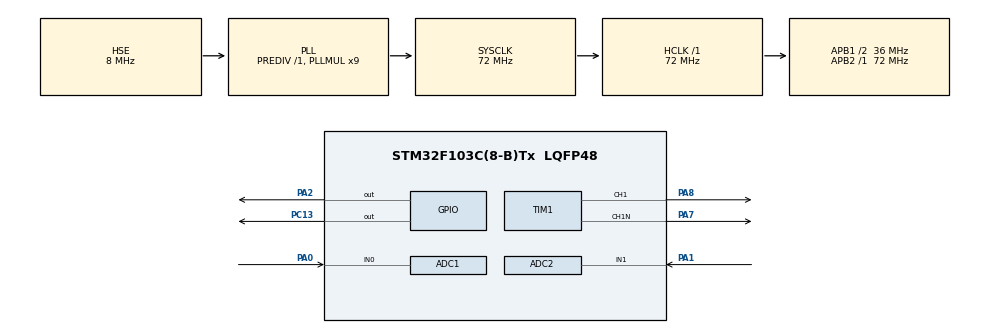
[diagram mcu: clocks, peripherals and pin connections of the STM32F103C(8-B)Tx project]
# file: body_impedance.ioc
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ADC1.Channel-0\#ChannelRegularConversion=ADC_CHANNEL_0
ADC1.ContinuousConvMode=ENABLE
ADC1.ExternalTrigConv=ADC_EXTERNALTRIGCONV_T3_TRGO
ADC1.Mode=ADC_DUALMODE_REGSIMULT
ADC1.NbrOfConversionFlag=1
ADC1.Rank-0\#ChannelRegularConversion=1
ADC1.SamplingTime-0\#ChannelRegularConversion=ADC_SAMPLETIME_1CYCLE_5
ADC1.master=1
ADC2.Channel-0\#ChannelRegularConversion=ADC_CHANNEL_1
ADC2.Mode=ADC_DUALMODE_REGSIMULT
ADC2.NbrOfConversionFlag=1
ADC2.Rank-0\#ChannelRegularConversion=1
ADC2.SamplingTime-0\#ChannelRegularConversion=ADC_SAMPLETIME_1CYCLE_5
Dma.ADC1.0.Direction=DMA_PERIPH_TO_MEMORY
Dma.ADC1.0.Instance=DMA1_Channel1
Dma.ADC1.0.MemDataAlignment=DMA_MDATAALIGN_WORD
Dma.ADC1.0.MemInc=DMA_MINC_ENABLE
Dma.ADC1.0.Mode=DMA_CIRCULAR
Dma.ADC1.0.PeriphDataAlignment=DMA_PDATAALIGN_WORD
Dma.ADC1.0.PeriphInc=DMA_PINC_DISABLE
Dma.ADC1.0.Priority=DMA_PRIORITY_LOW
Dma.Request0=ADC1
Mcu.Family=STM32F1
Mcu.Name=STM32F103C(8-B)Tx
Mcu.Package=LQFP48
NVIC.DMA1_Channel1_IRQn=true\:0\:0\:false\:false\:true\:false\:true\:true
NVIC.PriorityGroup=NVIC_PRIORITYGROUP_4
NVIC.TIM1_CC_IRQn=true\:0\:0\:false\:false\:true\:true\:true\:true
NVIC.TIM1_UP_IRQn=true\:0\:0\:false\:false\:true\:true\:true\:true
PA0-WKUP.Signal=ADCx_IN0
PA1.Signal=ADCx_IN1
PA13.Mode=Serial_Wire
PA13.Signal=SYS_JTMS-SWDIO
PA14.Mode=Serial_Wire
PA14.Signal=SYS_JTCK-SWCLK
PA2.Signal=GPIO_Output
PA7.Mode=PWM Generation1 CH1 CH1N
PA7.Signal=TIM1_CH1N
PA8.Signal=S_TIM1_CH1
PC13-TAMPER-RTC.Signal=GPIO_Output
PD0-OSC_IN.Mode=HSE-External-Oscillator
PD0-OSC_IN.Signal=RCC_OSC_IN
PD1-OSC_OUT.Mode=HSE-External-Oscillator
PD1-OSC_OUT.Signal=RCC_OSC_OUT
ProjectManager.HeapSize=0x200
ProjectManager.StackSize=0x400
ProjectManager.TargetToolchain=STM32CubeIDE
RCC.ADCPresc=RCC_ADCPCLK2_DIV6
RCC.AHBFreq_Value=72000000
RCC.APB1CLKDivider=RCC_HCLK_DIV2
RCC.APB1Freq_Value=36000000
RCC.APB1TimFreq_Value=72000000
RCC.APB2Freq_Value=72000000
RCC.APB2TimFreq_Value=72000000
RCC.HCLKFreq_Value=72000000
RCC.PLLMUL=RCC_PLL_MUL9
RCC.PLLSourceVirtual=RCC_PLLSOURCE_HSE
RCC.SYSCLKFreq_VALUE=72000000
RCC.SYSCLKSource=RCC_SYSCLKSOURCE_PLLCLK
RCC.USBFreq_Value=72000000
SH.ADCx_IN0.0=ADC1_IN0,IN0
SH.ADCx_IN1.0=ADC2_IN1,IN1
SH.S_TIM1_CH1.0=TIM1_CH1,PWM Generation1 CH1 CH1N
TIM1.BreakState=TIM_BREAK_DISABLE
TIM1.Channel-PWM\ Generation1\ CH1\ CH1N=TIM_CHANNEL_1
TIM1.DeadTime=PWM_DEAD_TIME
TIM1.Period=pwmPulseParameters.counterPeriod
TIM1.Prescaler=pwmPulseParameters.counterPrescaler
TIM1.Pulse-PWM\ Generation1\ CH1\ CH1N=pwmPulseParameters.counterPulse
TIM3.Period=adcTimerParameters.adcTimerPeriod
TIM3.Prescaler=adcTimerParameters.adcTimerPrescaler
TIM3.TIM_MasterOutputTrigger=TIM_TRGO_UPDATE
VP_TIM3_VS_ClockSourceINT.Mode=Internal
board=custom

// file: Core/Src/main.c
/* USER CODE BEGIN Header */
/**
  ******************************************************************************
  * @file           : main.c
  * @brief          : Main program body
  ******************************************************************************
  * @attention
  *
  * Copyright (c) 2024 STMicroelectronics.
  * All rights reserved.
  *
  * This software is licensed under terms that can be found in the LICENSE file
  * in the root directory of this software component.
  * If no LICENSE file comes with this software, it is provided AS-IS.
  *
  ******************************************************************************
  */
/* USER CODE END Header */
#include "main.h"

/* USER CODE BEGIN PTD */
typedef struct{
	uint32_t counterFreq;  //pwm freq in Hz
	uint8_t dutyCycle;     // duty cycle in percentage(0-100)
	uint32_t stimulationDuration;
	uint16_t counterPeriod;
	uint16_t counterPulse;
	uint16_t counterPrescaler;
}sPulseParam;

typedef struct{
	uint8_t adcTimerPrescaler, adcTimerPeriod;
}sADCTimerParam;

typedef struct{
	uint8_t firstLoopFlag;
	volatile float impedanceTotal, impedanceAvg, impedanceEMAPres, impedanceEMAPrev, deltaImpedance;
}sImpedanceCalParam;
/* USER CODE END PTD */

/* USER CODE BEGIN PD */
#define PWM_DEAD_TIME 15 /* gives ~210ns dead time for apb2 timer clock freq of 72MHZ
						    to calc dead time value -> (PWM_DEAD_TIME = dead_time(ns) * apb2_tim_freq(MHz) */
#define ADC_BUF_LEN 10
#define DELTA_IMP_THRESHOLD 100
/* USER CODE END PD */

ADC_HandleTypeDef hadc1;
ADC_HandleTypeDef hadc2;
DMA_HandleTypeDef hdma_adc1;

TIM_HandleTypeDef htim1;
TIM_HandleTypeDef htim3;

/* USER CODE BEGIN PV */

volatile sPulseParam pwmPulseParameters = {.counterPrescaler = 0, .counterPeriod = 360, .counterPulse = 300};
volatile sADCTimerParam adcTimerParameters = {71, 2}; //prescaler = 72, period = 1 , so adc timer freq = 1MHz //prescaler = 72, period = 1 , so adc timer freq = 1MHz
sImpedanceCalParam impedanceCalParameters = {.firstLoopFlag = 1, .impedanceTotal = 0, .impedanceAvg = 0, .impedanceEMAPres = 0, .impedanceEMAPrev = 0, .deltaImpedance = 0};
volatile uint8_t DMATransferComplete = 0;   //DMA flag
volatile uint32_t adcBuf[ADC_BUF_LEN] = {0};
volatile float emaAlpha = 0.1;
float current, voltage;
uint32_t adcCurrent, adcVoltage;
/* USER CODE END PV */

void SystemClock_Config(void);
static void MX_GPIO_Init(void);
static void MX_DMA_Init(void);
static void MX_ADC1_Init(void);
static void MX_ADC2_Init(void);
static void MX_TIM1_Init(void);
static void MX_TIM3_Init(void);

int main(void)
{

  /* MCU Configuration--------------------------------------------------------*/

  /* Reset of all peripherals, Initializes the Flash interface and the Systick. */
  HAL_Init();

  /* Configure the system clock */
  SystemClock_Config();

  /* Initialize all configured peripherals */
  MX_GPIO_Init();
  MX_DMA_Init();
  MX_ADC1_Init();
  MX_ADC2_Init();
  MX_TIM1_Init();
  MX_TIM3_Init();
  /* USER CODE BEGIN 2 */
  HAL_ADCEx_Calibration_Start(&hadc1);
  HAL_ADCEx_Calibration_Start(&hadc2);
  HAL_ADC_Start(&hadc2);
  HAL_ADCEx_MultiModeStart_DMA(&hadc1, adcBuf, ADC_BUF_LEN);

  /* USER CODE END 2 */

  /* Infinite loop */
  /* USER CODE BEGIN WHILE */

  HAL_TIM_PWM_Start(&htim1, TIM_CHANNEL_1);	   // turn on pwm channel for h-bridge switching
  HAL_TIMEx_PWMN_Start(&htim1, TIM_CHANNEL_1); // turn on complementary channel
  HAL_TIM_PWM_Start(&htim3, TIM_CHANNEL_1);

  while (1)
  {
	  if(DMATransferComplete){
		  Calc_Impedance();
		  DMATransferComplete = 0;
	  }

    /* USER CODE END WHILE */

  }
}

void SystemClock_Config(void)
{
  RCC_OscInitTypeDef RCC_OscInitStruct = {0};
  RCC_ClkInitTypeDef RCC_ClkInitStruct = {0};
  RCC_PeriphCLKInitTypeDef PeriphClkInit = {0};

  /** Initializes the RCC Oscillators according to the specified parameters
  * in the RCC_OscInitTypeDef structure.
  */
  RCC_OscInitStruct.OscillatorType = RCC_OSCILLATORTYPE_HSE;
  RCC_OscInitStruct.HSEState = RCC_HSE_ON;
  RCC_OscInitStruct.HSEPredivValue = RCC_HSE_PREDIV_DIV1;
  RCC_OscInitStruct.HSIState = RCC_HSI_ON;
  RCC_OscInitStruct.PLL.PLLState = RCC_PLL_ON;
  RCC_OscInitStruct.PLL.PLLSource = RCC_PLLSOURCE_HSE;
  RCC_OscInitStruct.PLL.PLLMUL = RCC_PLL_MUL9;
  if (HAL_RCC_OscConfig(&RCC_OscInitStruct) != HAL_OK)
  {
    Error_Handler();
  }

  /** Initializes the CPU, AHB and APB buses clocks
  */
  RCC_ClkInitStruct.ClockType = RCC_CLOCKTYPE_HCLK|RCC_CLOCKTYPE_SYSCLK
                              |RCC_CLOCKTYPE_PCLK1|RCC_CLOCKTYPE_PCLK2;
  RCC_ClkInitStruct.SYSCLKSource = RCC_SYSCLKSOURCE_PLLCLK;
  RCC_ClkInitStruct.AHBCLKDivider = RCC_SYSCLK_DIV1;
  RCC_ClkInitStruct.APB1CLKDivider = RCC_HCLK_DIV2;
  RCC_ClkInitStruct.APB2CLKDivider = RCC_HCLK_DIV1;

  if (HAL_RCC_ClockConfig(&RCC_ClkInitStruct, FLASH_LATENCY_2) != HAL_OK)
  {
    Error_Handler();
  }
  PeriphClkInit.PeriphClockSelection = RCC_PERIPHCLK_ADC;
  PeriphClkInit.AdcClockSelection = RCC_ADCPCLK2_DIV6;
  if (HAL_RCCEx_PeriphCLKConfig(&PeriphClkInit) != HAL_OK)
  {
    Error_Handler();
  }
}

static void MX_ADC1_Init(void)
{

  ADC_MultiModeTypeDef multimode = {0};
  ADC_ChannelConfTypeDef sConfig = {0};

  /** Common config
  */
  hadc1.Instance = ADC1;
  hadc1.Init.ScanConvMode = ADC_SCAN_DISABLE;
  hadc1.Init.ContinuousConvMode = ENABLE;
  hadc1.Init.DiscontinuousConvMode = DISABLE;
  hadc1.Init.ExternalTrigConv = ADC_EXTERNALTRIGCONV_T3_TRGO;
  hadc1.Init.DataAlign = ADC_DATAALIGN_RIGHT;
  hadc1.Init.NbrOfConversion = 1;
  if (HAL_ADC_Init(&hadc1) != HAL_OK)
  {
    Error_Handler();
  }

  /** Configure the ADC multi-mode
  */
  multimode.Mode = ADC_DUALMODE_REGSIMULT;
  if (HAL_ADCEx_MultiModeConfigChannel(&hadc1, &multimode) != HAL_OK)
  {
    Error_Handler();
  }

  /** Configure Regular Channel
  */
  sConfig.Channel = ADC_CHANNEL_0;
  sConfig.Rank = ADC_REGULAR_RANK_1;
  sConfig.SamplingTime = ADC_SAMPLETIME_1CYCLE_5;
  if (HAL_ADC_ConfigChannel(&hadc1, &sConfig) != HAL_OK)
  {
    Error_Handler();
  }

}

static void MX_ADC2_Init(void)
{

  ADC_ChannelConfTypeDef sConfig = {0};

  /** Common config
  */
  hadc2.Instance = ADC2;
  hadc2.Init.ScanConvMode = ADC_SCAN_DISABLE;
  hadc2.Init.ContinuousConvMode = DISABLE;
  hadc2.Init.DiscontinuousConvMode = DISABLE;
  hadc2.Init.ExternalTrigConv = ADC_SOFTWARE_START;
  hadc2.Init.DataAlign = ADC_DATAALIGN_RIGHT;
  hadc2.Init.NbrOfConversion = 1;
  if (HAL_ADC_Init(&hadc2) != HAL_OK)
  {
    Error_Handler();
  }

  /** Configure Regular Channel
  */
  sConfig.Channel = ADC_CHANNEL_1;
  sConfig.Rank = ADC_REGULAR_RANK_1;
  sConfig.SamplingTime = ADC_SAMPLETIME_1CYCLE_5;
  if (HAL_ADC_ConfigChannel(&hadc2, &sConfig) != HAL_OK)
  {
    Error_Handler();
  }

}

static void MX_TIM1_Init(void)
{

  /* USER CODE BEGIN TIM1_Init 0 */

  /*This is the timer used to create the PWM signals to switch the H-Bridge */

  /* USER CODE END TIM1_Init 0 */

  TIM_MasterConfigTypeDef sMasterConfig = {0};
  TIM_OC_InitTypeDef sConfigOC = {0};
  TIM_BreakDeadTimeConfigTypeDef sBreakDeadTimeConfig = {0};

  htim1.Instance = TIM1;
  htim1.Init.Prescaler = pwmPulseParameters.counterPrescaler;
  htim1.Init.CounterMode = TIM_COUNTERMODE_UP;
  htim1.Init.Period = pwmPulseParameters.counterPeriod;
  htim1.Init.ClockDivision = TIM_CLOCKDIVISION_DIV1;
  htim1.Init.RepetitionCounter = 0;
  htim1.Init.AutoReloadPreload = TIM_AUTORELOAD_PRELOAD_DISABLE;
  if (HAL_TIM_PWM_Init(&htim1) != HAL_OK)
  {
    Error_Handler();
  }
  sMasterConfig.MasterOutputTrigger = TIM_TRGO_RESET;
  sMasterConfig.MasterSlaveMode = TIM_MASTERSLAVEMODE_DISABLE;
  if (HAL_TIMEx_MasterConfigSynchronization(&htim1, &sMasterConfig) != HAL_OK)
  {
    Error_Handler();
  }
  sConfigOC.OCMode = TIM_OCMODE_PWM1;
  sConfigOC.Pulse = pwmPulseParameters.counterPulse;
  sConfigOC.OCPolarity = TIM_OCPOLARITY_HIGH;
  sConfigOC.OCNPolarity = TIM_OCNPOLARITY_HIGH;
  sConfigOC.OCFastMode = TIM_OCFAST_DISABLE;
  sConfigOC.OCIdleState = TIM_OCIDLESTATE_RESET;
  sConfigOC.OCNIdleState = TIM_OCNIDLESTATE_RESET;
  if (HAL_TIM_PWM_ConfigChannel(&htim1, &sConfigOC, TIM_CHANNEL_1) != HAL_OK)
  {
    Error_Handler();
  }
  sBreakDeadTimeConfig.OffStateRunMode = TIM_OSSR_DISABLE;
  sBreakDeadTimeConfig.OffStateIDLEMode = TIM_OSSI_DISABLE;
  sBreakDeadTimeConfig.LockLevel = TIM_LOCKLEVEL_OFF;
  sBreakDeadTimeConfig.DeadTime = PWM_DEAD_TIME;
  sBreakDeadTimeConfig.BreakState = TIM_BREAK_DISABLE;
  sBreakDeadTimeConfig.BreakPolarity = TIM_BREAKPOLARITY_HIGH;
  sBreakDeadTimeConfig.AutomaticOutput = TIM_AUTOMATICOUTPUT_DISABLE;
  if (HAL_TIMEx_ConfigBreakDeadTime(&htim1, &sBreakDeadTimeConfig) != HAL_OK)
  {
    Error_Handler();
  }
  HAL_TIM_MspPostInit(&htim1);

}

static void MX_TIM3_Init(void)
{

  /* USER CODE BEGIN TIM3_Init 0 */

  /*This timer is used to take ADC values*/

  /* USER CODE END TIM3_Init 0 */

  TIM_ClockConfigTypeDef sClockSourceConfig = {0};
  TIM_MasterConfigTypeDef sMasterConfig = {0};

  htim3.Instance = TIM3;
  htim3.Init.Prescaler = adcTimerParameters.adcTimerPrescaler;
  htim3.Init.CounterMode = TIM_COUNTERMODE_UP;
  htim3.Init.Period = adcTimerParameters.adcTimerPeriod;
  htim3.Init.ClockDivision = TIM_CLOCKDIVISION_DIV1;
  htim3.Init.AutoReloadPreload = TIM_AUTORELOAD_PRELOAD_DISABLE;
  if (HAL_TIM_Base_Init(&htim3) != HAL_OK)
  {
    Error_Handler();
  }
  sClockSourceConfig.ClockSource = TIM_CLOCKSOURCE_INTERNAL;
  if (HAL_TIM_ConfigClockSource(&htim3, &sClockSourceConfig) != HAL_OK)
  {
    Error_Handler();
  }
  sMasterConfig.MasterOutputTrigger = TIM_TRGO_UPDATE;
  sMasterConfig.MasterSlaveMode = TIM_MASTERSLAVEMODE_DISABLE;
  if (HAL_TIMEx_MasterConfigSynchronization(&htim3, &sMasterConfig) != HAL_OK)
  {
    Error_Handler();
  }

}

static void MX_DMA_Init(void)
{

  /* DMA controller clock enable */
  __HAL_RCC_DMA1_CLK_ENABLE();

  /* DMA interrupt init */
  /* DMA1_Channel1_IRQn interrupt configuration */
  HAL_NVIC_SetPriority(DMA1_Channel1_IRQn, 0, 0);
  HAL_NVIC_EnableIRQ(DMA1_Channel1_IRQn);

}

static void MX_GPIO_Init(void)
{
  GPIO_InitTypeDef GPIO_InitStruct = {0};

  /* GPIO Ports Clock Enable */
  __HAL_RCC_GPIOC_CLK_ENABLE();
  __HAL_RCC_GPIOD_CLK_ENABLE();
  __HAL_RCC_GPIOA_CLK_ENABLE();

  /*Configure GPIO pin Output Level */
  HAL_GPIO_WritePin(GPIOC, GPIO_PIN_13, GPIO_PIN_RESET);

  /*Configure GPIO pin Output Level */
  HAL_GPIO_WritePin(GPIOA, GPIO_PIN_2, GPIO_PIN_RESET);

  /*Configure GPIO pin : PC13 */
  GPIO_InitStruct.Pin = GPIO_PIN_13;
  GPIO_InitStruct.Mode = GPIO_MODE_OUTPUT_PP;
  GPIO_InitStruct.Pull = GPIO_NOPULL;
  GPIO_InitStruct.Speed = GPIO_SPEED_FREQ_LOW;
  HAL_GPIO_Init(GPIOC, &GPIO_InitStruct);

  /*Configure GPIO pin : PA2 */
  GPIO_InitStruct.Pin = GPIO_PIN_2;
  GPIO_InitStruct.Mode = GPIO_MODE_OUTPUT_PP;
  GPIO_InitStruct.Pull = GPIO_NOPULL;
  GPIO_InitStruct.Speed = GPIO_SPEED_FREQ_LOW;
  HAL_GPIO_Init(GPIOA, &GPIO_InitStruct);

/* USER CODE BEGIN MX_GPIO_Init_2 */
  HAL_GPIO_WritePin(GPIOC, GPIO_PIN_13, GPIO_PIN_SET); //PIN13 LED is active low
/* USER CODE END MX_GPIO_Init_2 */
}

/* USER CODE BEGIN 4 */
void HAL_ADC_ConvHalfCpltCallback(ADC_HandleTypeDef* hadc){
}

//called when adc buffer is completely filled
void HAL_ADC_ConvCpltCallback(ADC_HandleTypeDef* hadc){
	DMATransferComplete = 1;
	HAL_GPIO_TogglePin(GPIOA, GPIO_PIN_2);
}

void Calc_Impedance(void){
	 //float current, voltage;
	 impedanceCalParameters.impedanceTotal = 0;
	 for(int i = 0; i < ADC_BUF_LEN ; i++){
				 /*uint32_t*/ adcCurrent = (adcBuf[i] >> 16) & 0x0FFF;  // PA1-ADC2  Current
				 /*uint32_t*/ adcVoltage = adcBuf[i] & 0x0FFF;            // PA0-ADC1  Voltage
				 current = ((adcCurrent + 1) * 3.3)/4095; // "+1" to prevent division by 0
				 voltage = (adcVoltage * 3.3)/4095;
				 impedanceCalParameters.impedanceTotal += voltage/current;
			 }
	 impedanceCalParameters.impedanceAvg = impedanceCalParameters.impedanceTotal/ADC_BUF_LEN;
	 impedanceCalParameters.impedanceEMAPres = emaAlpha * impedanceCalParameters.impedanceAvg + (1 - emaAlpha) * impedanceCalParameters.impedanceEMAPrev;

	  if(impedanceCalParameters.firstLoopFlag){
		  impedanceCalParameters.impedanceEMAPrev = impedanceCalParameters.impedanceEMAPres;
		  impedanceCalParameters.firstLoopFlag = 0;
	  }
	  else{
		  impedanceCalParameters.deltaImpedance = fabs(impedanceCalParameters.impedanceEMAPres - impedanceCalParameters.impedanceEMAPrev);
		  if(impedanceCalParameters.deltaImpedance > DELTA_IMP_THRESHOLD){
			  Enter_Idle_State();
		  }
		  impedanceCalParameters.impedanceEMAPrev = impedanceCalParameters.impedanceEMAPres;
	  }
}

void Enter_Idle_State(void) {
    // Disable global interrupts
    __disable_irq();
    HAL_TIMEx_PWMN_Stop(&htim1, TIM_CHANNEL_1);
    HAL_TIM_PWM_Stop(&htim1, TIM_CHANNEL_1);
    // Stop any ongoing peripherals (e.g., timers, ADCs, etc.)
    //Stop_Peripherals();
    HAL_GPIO_WritePin(GPIOC, GPIO_PIN_13, GPIO_PIN_RESET);
    // Enter a low-power mode (e.g., sleep mode)
    //HAL_PWR_EnterSLEEPMode(PWR_MAINREGULATOR_ON, PWR_SLEEPENTRY_WFI);
    while(1);

    // The microcontroller will remain in this state until a reset or external interrupt occurs
}

/* USER CODE END 4 */

void Error_Handler(void)
{
  __disable_irq();
  while (1)
  {
  }
}
